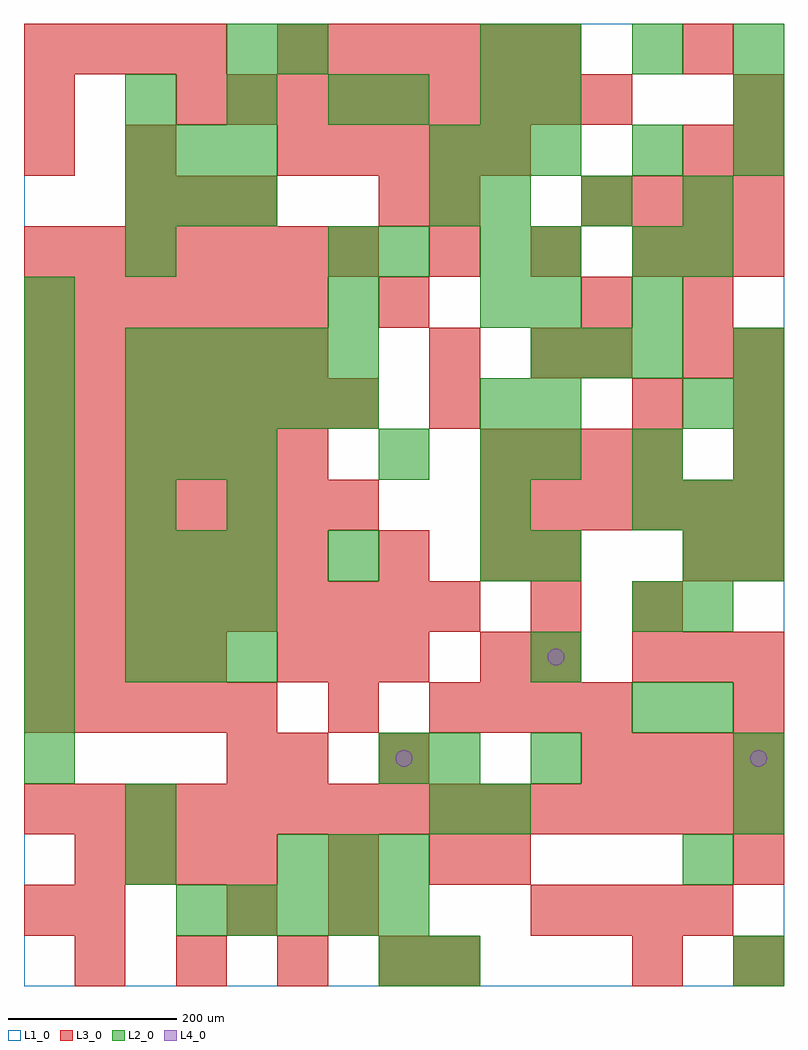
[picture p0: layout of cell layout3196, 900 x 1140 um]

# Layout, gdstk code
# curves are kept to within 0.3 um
import gdstk
lib = gdstk.Library(unit=1e-6, precision=1e-09)
def R(c, l, rs):  # rectangles x0, y0, x1, y1
    for r in rs: c.add(gdstk.rectangle(r[:2], r[2:], *l))
def A(c, l, x, y, w, h, nx, ny, dx, dy):  # array of equal rectangles
    R(c, l, [(x+i*dx, y+j*dy, x+i*dx+w, y+j*dy+h) for i in range(nx) for j in range(ny)])
def P(c, l, *ps):  # polygons
    for p in ps: c.add(gdstk.Polygon(p, *l))
L1_0 = (1, 0)
L2_0 = (2, 0)
L3_0 = (3, 0)
L4_0 = (4, 0)

layout3196 = lib.new_cell('layout3196')
R(layout3196, L1_0, [(0,0,900,1140)])
A(layout3196, L2_0, 180, 60, 60, 60, 5, 1, 60, 0)
A(layout3196, L2_0, 300, 120, 60, 60, 3, 1, 60, 0)
A(layout3196, L2_0, 0, 240, 60, 60, 1, 5, 0, 60)
A(layout3196, L2_0, 600, 240, 60, 60, 1, 3, 0, 120)
A(layout3196, L2_0, 120, 360, 60, 60, 3, 3, 60, 60)
A(layout3196, L2_0, 540, 480, 60, 60, 1, 4, 0, 60)
A(layout3196, L2_0, 780, 480, 60, 60, 1, 3, 0, 180)
A(layout3196, L2_0, 0, 540, 60, 60, 3, 1, 120, 0)
A(layout3196, L2_0, 720, 540, 60, 60, 3, 1, 60, 0)
A(layout3196, L2_0, 0, 600, 60, 60, 1, 4, 0, 60)
A(layout3196, L2_0, 120, 600, 60, 60, 3, 2, 60, 300)
A(layout3196, L2_0, 600, 600, 60, 60, 3, 2, 120, 480)
A(layout3196, L2_0, 120, 660, 60, 60, 5, 2, 60, 60)
A(layout3196, L2_0, 600, 720, 60, 60, 3, 1, 60, 0)
A(layout3196, L2_0, 540, 900, 60, 60, 3, 1, 120, 0)
A(layout3196, L2_0, 120, 960, 60, 60, 3, 1, 60, 0)
A(layout3196, L2_0, 480, 960, 60, 60, 3, 1, 60, 0)
A(layout3196, L2_0, 120, 1020, 60, 60, 3, 1, 120, 0)
R(layout3196, L2_0, [(420,0,480,60), (480,0,540,60), (840,0,900,60), (120,120,180,180), (780,120,840,180), (120,180,180,240), (480,180,540,240), (540,180,600,240), (840,180,900,240), (420,240,480,300), (480,240,540,300), (840,240,900,300), (720,300,780,360), (780,300,840,360), (720,420,780,480), (780,420,840,480), (360,480,420,540), (840,480,900,540), (420,600,480,660), (600,660,660,720), (840,660,900,720), (840,720,900,780), (360,780,420,840), (540,780,600,840), (600,780,660,840), (720,780,780,840), (120,840,180,900), (360,840,420,900), (420,840,480,900), (540,840,600,900), (600,840,660,900), (720,840,780,900), (480,900,540,960), (720,960,780,1020), (840,960,900,1020), (420,1020,480,1080), (540,1020,600,1080), (600,1020,660,1080), (840,1020,900,1080), (240,1080,300,1140), (300,1080,360,1140), (540,1080,600,1140)])
A(layout3196, L3_0, 60, 0, 60, 60, 4, 1, 120, 0)
A(layout3196, L3_0, 600, 60, 60, 60, 4, 1, 60, 0)
A(layout3196, L3_0, 60, 120, 60, 60, 4, 1, 60, 0)
A(layout3196, L3_0, 840, 120, 60, 60, 1, 3, 0, 180)
A(layout3196, L3_0, 0, 180, 60, 60, 15, 1, 60, 0)
A(layout3196, L3_0, 660, 240, 60, 60, 4, 2, 60, 660)
A(layout3196, L3_0, 0, 300, 60, 60, 5, 1, 60, 0)
A(layout3196, L3_0, 480, 300, 60, 60, 4, 1, 60, 0)
A(layout3196, L3_0, 0, 360, 60, 60, 4, 2, 60, 720)
A(layout3196, L3_0, 300, 360, 60, 60, 3, 1, 60, 0)
A(layout3196, L3_0, 600, 360, 60, 60, 1, 3, 0, 60)
A(layout3196, L3_0, 720, 360, 60, 60, 3, 1, 60, 0)
A(layout3196, L3_0, 0, 420, 60, 60, 9, 1, 60, 0)
A(layout3196, L3_0, 0, 480, 60, 60, 6, 3, 60, 120)
A(layout3196, L3_0, 0, 540, 60, 60, 7, 2, 60, 120)
A(layout3196, L3_0, 540, 540, 60, 60, 6, 1, 60, 0)
A(layout3196, L3_0, 540, 600, 60, 60, 4, 1, 60, 0)
A(layout3196, L3_0, 840, 600, 60, 60, 1, 3, 0, 60)
A(layout3196, L3_0, 780, 720, 60, 60, 1, 3, 0, 60)
A(layout3196, L3_0, 0, 780, 60, 60, 6, 1, 60, 0)
A(layout3196, L3_0, 0, 840, 60, 60, 7, 1, 60, 0)
A(layout3196, L3_0, 480, 840, 60, 60, 3, 1, 120, 0)
A(layout3196, L3_0, 120, 900, 60, 60, 3, 1, 60, 0)
A(layout3196, L3_0, 300, 960, 60, 60, 5, 1, 60, 0)
A(layout3196, L3_0, 180, 1020, 60, 60, 9, 1, 60, 0)
A(layout3196, L3_0, 300, 1080, 60, 60, 6, 1, 60, 0)
R(layout3196, L3_0, [(480,0,540,60), (720,0,780,60), (840,0,900,60), (0,60,60,120), (60,60,120,120), (240,60,300,120), (360,60,420,120), (360,120,420,180), (480,120,540,180), (540,120,600,180), (240,240,300,300), (300,240,360,300), (420,240,480,300), (360,300,420,360), (540,360,600,420), (720,420,780,480), (420,480,480,540), (540,480,600,540), (780,480,840,540), (480,660,540,720), (720,660,780,720), (480,720,540,780), (600,720,660,780), (660,720,720,780), (420,780,480,840), (660,780,720,840), (840,840,900,900), (420,900,480,960), (480,900,540,960), (0,960,60,1020), (120,960,180,1020), (780,960,840,1020), (840,960,900,1020), (0,1020,60,1080), (840,1020,900,1080), (780,1080,840,1140)])
P(layout3196, L4_0, [(460,270),(459.239,273.827),(457.071,277.071),(453.827,279.239),(450,280),(446.173,279.239),(442.929,277.071),(440.761,273.827),(440,270),(440.761,266.173),(442.929,262.929),(446.173,260.761),(450,260),(453.827,260.761),(457.071,262.929),(459.239,266.173)],
  [(640,390),(639.239,393.827),(637.071,397.071),(633.827,399.239),(630,400),(626.173,399.239),(622.929,397.071),(620.761,393.827),(620,390),(620.761,386.173),(622.929,382.929),(626.173,380.761),(630,380),(633.827,380.761),(637.071,382.929),(639.239,386.173)],
  [(880,270),(879.239,273.827),(877.071,277.071),(873.827,279.239),(870,280),(866.173,279.239),(862.929,277.071),(860.761,273.827),(860,270),(860.761,266.173),(862.929,262.929),(866.173,260.761),(870,260),(873.827,260.761),(877.071,262.929),(879.239,266.173)])

lib.write_gds('layout3196.gds')
